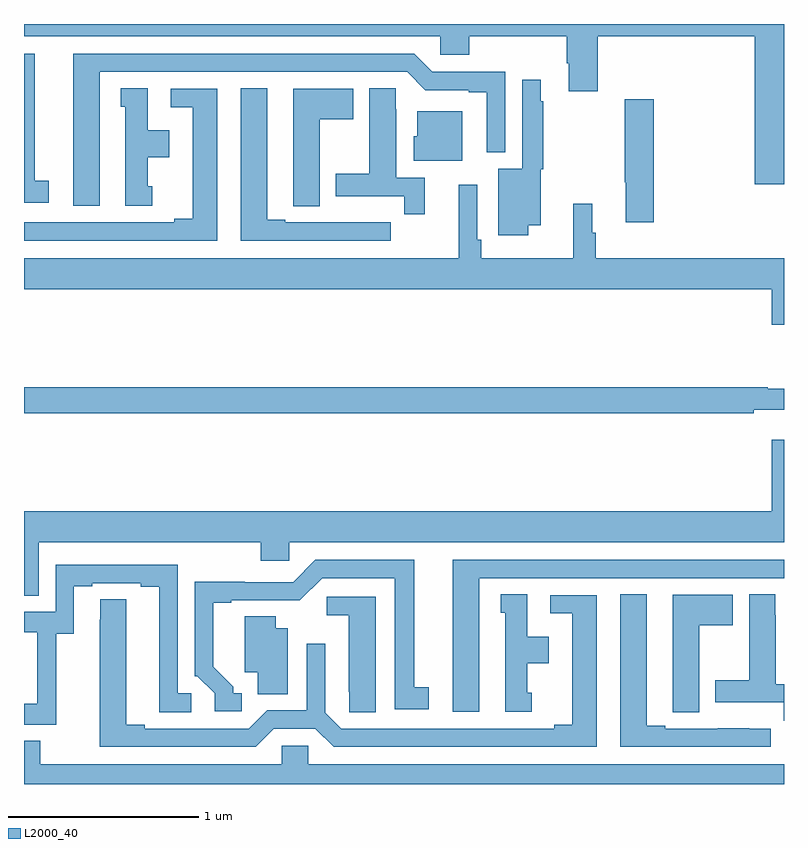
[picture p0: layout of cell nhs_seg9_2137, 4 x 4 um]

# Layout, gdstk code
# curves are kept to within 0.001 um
import gdstk
lib = gdstk.Library(unit=1e-6, precision=1e-09)
def P(c, l, *ps):  # polygons
    for p in ps: c.add(gdstk.Polygon(p, *l))
L2000_40 = (2000, 40)

nhs_seg9_2137 = lib.new_cell('nhs_seg9_2137')
P(nhs_seg9_2137, L2000_40, [(237,1180.5),(233,1180.5),(233,1180.436),(235.191,1180.436),(235.191,1180.338),(235.343,1180.338),(235.343,1180.436),(235.856,1180.436),(235.856,1180.294),(235.868,1180.294),(235.868,1180.146),(236.021,1180.146),(236.021,1180.436),(236.846,1180.436),(236.846,1179.657),(237,1179.657)],
  [(233.131,1179.674),(233.056,1179.674),(233.056,1180.344),(233,1180.344),(233,1179.558),(233.131,1179.558)],
  [(233.398,1180.248),(235.017,1180.248),(235.113,1180.152),(235.34,1180.152),(235.34,1180.14),(235.436,1180.14),(235.436,1179.824),(235.533,1179.824),(235.533,1180.248),(235.149,1180.248),(235.053,1180.344),(233.258,1180.344),(233.258,1179.543),(233.398,1179.543)],
  [(235.654,1179.44),(235.72,1179.44),(235.72,1179.735),(235.732,1179.735),(235.732,1180.094),(235.72,1180.094),(235.72,1180.207),(235.623,1180.207),(235.623,1179.739),(235.496,1179.739),(235.496,1179.387),(235.654,1179.387)],
  [(234.931,1179.456),(234.818,1179.456),(234.818,1179.457),(234.652,1179.457),(234.652,1179.456),(234.376,1179.456),(234.376,1179.471),(234.28,1179.471),(234.28,1180.163),(234.14,1180.163),(234.14,1179.36),(234.931,1179.36)],
  [(235.109,1179.69),(234.958,1179.69),(234.958,1180.052),(234.957,1180.052),(234.957,1180.163),(234.818,1180.163),(234.818,1179.711),(234.641,1179.711),(234.641,1179.594),(235,1179.594),(235,1179.498),(235.109,1179.498)],
  [(233.674,1179.645),(233.65,1179.645),(233.65,1179.8),(233.764,1179.8),(233.764,1179.94),(233.65,1179.94),(233.65,1180.163),(233.51,1180.163),(233.51,1180.065),(233.534,1180.065),(233.534,1179.543),(233.674,1179.543)],
  [(234.556,1180),(234.733,1180),(234.733,1180.159),(234.416,1180.159),(234.416,1179.649),(234.417,1179.649),(234.417,1179.541),(234.556,1179.541)],
  [(234.016,1180.158),(233.772,1180.158),(233.772,1180.062),(233.888,1180.062),(233.888,1179.476),(233.792,1179.476),(233.792,1179.456),(233,1179.456),(233,1179.36),(234.016,1179.36)],
  [(236.315,1180.105),(236.161,1180.105),(236.161,1179.668),(236.168,1179.668),(236.168,1179.456),(236.315,1179.456)],
  [(235.306,1180.042),(235.07,1180.042),(235.07,1179.909),(235.052,1179.909),(235.052,1179.779),(235.306,1179.779)],
  [(237,1179.268),(236.009,1179.268),(236.009,1179.402),(235.99,1179.402),(235.99,1179.553),(235.891,1179.553),(235.891,1179.268),(235.406,1179.268),(235.406,1179.364),(235.386,1179.364),(235.386,1179.655),(235.289,1179.655),(235.289,1179.268),(233,1179.268),(233,1179.104),(236.936,1179.104),(236.936,1178.916),(237,1178.916)],
  [(236.84,1178.471),(237,1178.471),(237,1178.581),(236.914,1178.581),(236.914,1178.588),(233,1178.588),(233,1178.452),(236.84,1178.452)],
  [(233.077,1177.772),(234.245,1177.772),(234.245,1177.674),(234.396,1177.674),(234.396,1177.772),(237,1177.772),(237,1178.311),(236.936,1178.311),(236.936,1177.936),(233,1177.936),(233,1177.492),(233.077,1177.492)],
  [(234.145,1176.978),(234.1,1176.978),(234.1,1177.013),(233.995,1177.118),(233.995,1177.455),(234.091,1177.455),(234.091,1177.467),(234.452,1177.466),(234.57,1177.584),(234.95,1177.584),(234.95,1176.894),(235.129,1176.894),(235.129,1177.01),(235.054,1177.01),(235.054,1177.68),(234.534,1177.68),(234.417,1177.563),(234.161,1177.563),(234.161,1177.565),(233.898,1177.565),(233.898,1177.068),(233.913,1177.068),(234.003,1176.978),(234.003,1176.882),(234.145,1176.882)],
  [(235.396,1177.584),(237,1177.584),(237,1177.68),(235.256,1177.68),(235.256,1176.879),(235.396,1176.879)],
  [(233.169,1177.291),(233.263,1177.291),(233.263,1177.542),(233.359,1177.542),(233.359,1177.557),(233.615,1177.557),(233.615,1177.537),(233.711,1177.537),(233.711,1176.877),(233.881,1176.877),(233.881,1176.978),(233.808,1176.978),(233.808,1177.653),(233.166,1177.653),(233.166,1177.407),(233,1177.407),(233,1177.299),(233.069,1177.299),(233.069,1176.922),(233,1176.922),(233,1176.813),(233.169,1176.813)],
  [(235.672,1176.981),(235.648,1176.981),(235.648,1177.136),(235.762,1177.136),(235.762,1177.276),(235.648,1177.276),(235.648,1177.499),(235.508,1177.499),(235.508,1177.401),(235.532,1177.401),(235.532,1176.879),(235.672,1176.879)],
  [(237,1177.026),(236.956,1177.026),(236.956,1177.388),(236.955,1177.388),(236.955,1177.499),(236.816,1177.499),(236.816,1177.047),(236.639,1177.047),(236.639,1176.93),(236.998,1176.93),(236.998,1176.834),(237,1176.834)],
  [(236.929,1176.792),(236.816,1176.792),(236.816,1176.793),(236.65,1176.793),(236.65,1176.792),(236.374,1176.792),(236.374,1176.807),(236.278,1176.807),(236.278,1177.499),(236.138,1177.499),(236.138,1176.696),(236.929,1176.696)],
  [(236.554,1177.336),(236.731,1177.336),(236.731,1177.495),(236.414,1177.495),(236.414,1176.985),(236.415,1176.985),(236.415,1176.877),(236.554,1176.877)],
  [(234.315,1176.792),(234.533,1176.792),(234.629,1176.696),(236.014,1176.696),(236.014,1177.494),(235.77,1177.494),(235.77,1177.398),(235.886,1177.398),(235.886,1176.812),(235.79,1176.812),(235.79,1176.792),(234.669,1176.792),(234.585,1176.876),(234.585,1177.237),(234.489,1177.237),(234.489,1176.888),(234.279,1176.888),(234.183,1176.792),(233.635,1176.792),(233.635,1176.812),(233.539,1176.812),(233.539,1177.472),(233.4,1177.472),(233.399,1176.696),(234.219,1176.696)],
  [(234.85,1177.485),(234.594,1177.485),(234.594,1177.388),(234.71,1177.388),(234.71,1176.985),(234.711,1176.985),(234.711,1176.877),(234.85,1176.877)],
  [(234.388,1177.321),(234.325,1177.321),(234.325,1177.382),(234.161,1177.382),(234.161,1177.088),(234.23,1177.088),(234.23,1176.973),(234.388,1176.973)],
  [(237,1176.604),(234.495,1176.604),(234.495,1176.702),(234.357,1176.702),(234.357,1176.604),(233.085,1176.604),(233.085,1176.728),(233,1176.728),(233,1176.5),(237,1176.5)])

lib.write_gds('nhs_seg9_2137.gds')
